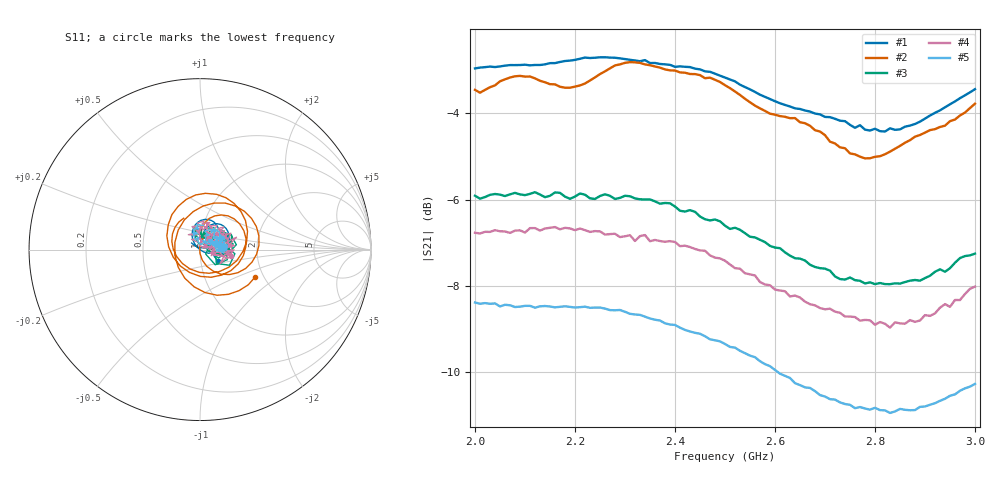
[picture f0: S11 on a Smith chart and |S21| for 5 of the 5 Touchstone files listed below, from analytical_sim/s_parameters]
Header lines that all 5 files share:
# HZ S RI R 50
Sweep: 2 GHz to 3 GHz
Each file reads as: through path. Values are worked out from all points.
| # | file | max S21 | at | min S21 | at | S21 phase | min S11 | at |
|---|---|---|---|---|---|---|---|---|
| 1 | Directional-Coupler-Input-to-Output.s2p | -2.70 dB | 2.26 GHz | -4.4 dB | 2.82 GHz | 57 deg at 2.5 GHz | -59.8 dB | 2.73 GHz |
| 2 | SMA-0.5ft-2GHz-3GHz.s2p | -2.81 dB | 2.31 GHz | -5.0 dB | 2.78 GHz | 46 deg at 2.5 GHz | -35.1 dB | 2.33 GHz |
| 3 | SMA-6.5ft-2GHz-3GHz.s2p | -5.83 dB | 2.12 GHz | -8.0 dB | 2.83 GHz | 155 deg at 2.5 GHz | -29.6 dB | 2.89 GHz |
| 4 | SMA-25ft-2GHz-3GHz.s2p | -6.64 dB | 2.16 GHz | -9.0 dB | 2.83 GHz | 123 deg at 2.5 GHz | -35.2 dB | 2.74 GHz |
| 5 | SMA-50ft-2GHz-3GHz.s2p | -8.39 dB | 2 GHz | -10.9 dB | 2.83 GHz | 174 deg at 2.5 GHz | -30.2 dB | 2.86 GHz |
